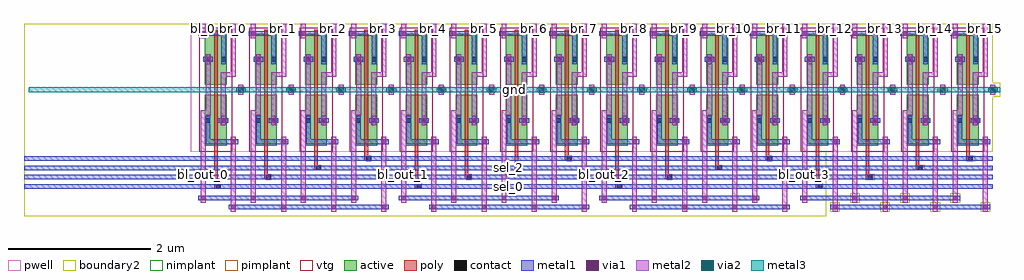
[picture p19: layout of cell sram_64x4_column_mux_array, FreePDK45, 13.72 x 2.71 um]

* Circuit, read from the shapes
.subckt sram_64x4_column_mux_array bl_0 bl_1 bl_10 bl_11 bl_12 bl_13 bl_14 bl_15 bl_2 bl_3 bl_4 bl_5 bl_6 bl_7 bl_8 bl_9 bl_out_0 bl_out_1 bl_out_2 bl_out_3 br_0 br_1 br_10 br_11 br_12 br_13 br_14 br_15 br_2 br_3 br_4 br_5 br_6 br_7 br_8 br_9 br_out_0 br_out_1 br_out_2 br_out_3 gnd sel_0 sel_1 sel_2 sel_3
M1 br_0 sel_0 br_out_0 gnd nfet w=0.72u l=0.05u
M2 bl_0 sel_0 bl_out_0 gnd nfet w=0.72u l=0.05u
M3 br_1 sel_1 br_out_0 gnd nfet w=0.72u l=0.05u
M4 bl_1 sel_1 bl_out_0 gnd nfet w=0.72u l=0.05u
M5 br_2 sel_2 br_out_0 gnd nfet w=0.72u l=0.05u
M6 bl_2 sel_2 bl_out_0 gnd nfet w=0.72u l=0.05u
M7 br_3 sel_3 br_out_0 gnd nfet w=0.72u l=0.05u
M8 bl_3 sel_3 bl_out_0 gnd nfet w=0.72u l=0.05u
M9 br_4 sel_0 br_out_1 gnd nfet w=0.72u l=0.05u
M10 bl_4 sel_0 bl_out_1 gnd nfet w=0.72u l=0.05u
M11 br_5 sel_1 br_out_1 gnd nfet w=0.72u l=0.05u
M12 bl_5 sel_1 bl_out_1 gnd nfet w=0.72u l=0.05u
M13 br_6 sel_2 br_out_1 gnd nfet w=0.72u l=0.05u
M14 bl_6 sel_2 bl_out_1 gnd nfet w=0.72u l=0.05u
M15 br_7 sel_3 br_out_1 gnd nfet w=0.72u l=0.05u
M16 bl_7 sel_3 bl_out_1 gnd nfet w=0.72u l=0.05u
M17 br_8 sel_0 br_out_2 gnd nfet w=0.72u l=0.05u
M18 bl_8 sel_0 bl_out_2 gnd nfet w=0.72u l=0.05u
M19 br_9 sel_1 br_out_2 gnd nfet w=0.72u l=0.05u
M20 bl_9 sel_1 bl_out_2 gnd nfet w=0.72u l=0.05u
M21 br_10 sel_2 br_out_2 gnd nfet w=0.72u l=0.05u
M22 bl_10 sel_2 bl_out_2 gnd nfet w=0.72u l=0.05u
M23 br_11 sel_3 br_out_2 gnd nfet w=0.72u l=0.05u
M24 bl_11 sel_3 bl_out_2 gnd nfet w=0.72u l=0.05u
M25 br_12 sel_0 br_out_3 gnd nfet w=0.72u l=0.05u
M26 bl_12 sel_0 bl_out_3 gnd nfet w=0.72u l=0.05u
M27 br_13 sel_1 br_out_3 gnd nfet w=0.72u l=0.05u
M28 bl_13 sel_1 bl_out_3 gnd nfet w=0.72u l=0.05u
M29 br_14 sel_2 br_out_3 gnd nfet w=0.72u l=0.05u
M30 bl_14 sel_2 bl_out_3 gnd nfet w=0.72u l=0.05u
M31 br_15 sel_3 br_out_3 gnd nfet w=0.72u l=0.05u
M32 bl_15 sel_3 bl_out_3 gnd nfet w=0.72u l=0.05u
.ends

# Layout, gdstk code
import gdstk
lib = gdstk.Library(unit=1e-6, precision=5e-10)
def R(c, l, rs):  # rectangles x0, y0, x1, y1
    for r in rs: c.add(gdstk.rectangle(r[:2], r[2:], *l))
def A(c, l, x, y, w, h, nx, ny, dx, dy):  # array of equal rectangles
    R(c, l, [(x+i*dx, y+j*dy, x+i*dx+w, y+j*dy+h) for i in range(nx) for j in range(ny)])
active = (1, 0)
pwell = (2, 0)
nimplant = (4, 0)
pimplant = (5, 0)
vtg = (6, 0)
poly = (9, 0)
contact = (10, 0)
metal1 = (11, 0)
via1 = (12, 0)
metal2 = (13, 0)
via2 = (14, 0)
metal3 = (15, 0)
boundary2 = (239, 0)

sram_64x4_contact_10 = lib.new_cell('sram_64x4_contact_10')
R(sram_64x4_contact_10, active, [(0,0.0225,0.09,0.1125)])
R(sram_64x4_contact_10, pwell, [(-0.055,-0.0325,0.145,0.1675)])
R(sram_64x4_contact_10, nimplant, [(0,0.0225,0.09,0.1125)])
R(sram_64x4_contact_10, contact, [(0.0125,0.035,0.0775,0.1)])
R(sram_64x4_contact_10, metal1, [(0.0125,0,0.0775,0.135)])
R(sram_64x4_contact_10, boundary2, [(-0.055,-0.0325,0.145,0.1675)])

sram_64x4_nmos_m1_w0_720 = lib.new_cell('sram_64x4_nmos_m1_w0_720_sm1_dm1')
R(sram_64x4_nmos_m1_w0_720, active, [(0,0,0.305,0.72)])
R(sram_64x4_nmos_m1_w0_720, pwell, [(-0.08,-0.08,0.385,0.8)])
R(sram_64x4_nmos_m1_w0_720, nimplant, [(0,0,0.305,0.72)])
R(sram_64x4_nmos_m1_w0_720, vtg, [(-0.08,-0.08,0.385,0.8)])
R(sram_64x4_nmos_m1_w0_720, poly, [(0.1275,-0.055,0.1775,0.775), (0.1275,-0.055,0.1775,0.775)])
R(sram_64x4_nmos_m1_w0_720, metal1, [(0.0125,0.2925,0.0775,0.4275), (0.2275,0.2925,0.2925,0.4275)])
R(sram_64x4_nmos_m1_w0_720, boundary2, [(-0.08,-0.08,0.385,0.8)])
sram_64x4_nmos_m1_w0_720.add(gdstk.Reference(sram_64x4_contact_10, (0,0.2925)))
sram_64x4_nmos_m1_w0_720.add(gdstk.Reference(sram_64x4_contact_10, (0.215,0.2925)))
sram_64x4_nmos_m1_w0_720.add(gdstk.Label('G', (0.1525,0.36), layer=9, texttype=0))
sram_64x4_nmos_m1_w0_720.add(gdstk.Label('S', (0.045,0.36), layer=11, texttype=0))
sram_64x4_nmos_m1_w0_720.add(gdstk.Label('D', (0.26,0.36), layer=11, texttype=0))

sram_64x4_contact_17 = lib.new_cell('sram_64x4_contact_17')
R(sram_64x4_contact_17, metal1, [(0,0.035,0.135,0.1)])
R(sram_64x4_contact_17, via1, [(0.035,0.035,0.1,0.1)])
R(sram_64x4_contact_17, metal2, [(0.0325,0,0.1025,0.135)])
R(sram_64x4_contact_17, boundary2, [(0,0,0.135,0.135)])

sram_64x4_contact_24 = lib.new_cell('sram_64x4_contact_24')
R(sram_64x4_contact_24, active, [(0.0225,0,0.1125,0.09)])
R(sram_64x4_contact_24, pwell, [(-0.0325,-0.055,0.1675,0.145)])
R(sram_64x4_contact_24, pimplant, [(0.0225,0,0.1125,0.09)])
R(sram_64x4_contact_24, contact, [(0.035,0.0125,0.1,0.0775)])
R(sram_64x4_contact_24, metal1, [(0,0.0125,0.135,0.0775)])
R(sram_64x4_contact_24, boundary2, [(-0.0325,-0.055,0.1675,0.145)])

sram_64x4_column_mux = lib.new_cell('sram_64x4_column_mux')
R(sram_64x4_column_mux, pwell, [(0,0,0.705,1.8)])
R(sram_64x4_column_mux, poly, [(0.3275,0.025,0.3775,0.08), (0.3275,0.8,0.3775,0.94)])
R(sram_64x4_column_mux, metal1, [(0.2125,0.1075,0.2775,0.1725), (0.245,0.1075,0.6,0.1725), (0.2125,0.14,0.2775,0.44), (0.6725,0.8375,0.7375,0.9025), (0.4275,1.3,0.4925,1.66), (0.14,1.6275,0.46,1.6925), (0.4275,1.6275,0.4925,1.6925)])
A(sram_64x4_column_mux, metal2, 0.14, 0.515, 0.07, 0.07, 3, 1, 0.035, 0)
R(sram_64x4_column_mux, metal2, [(0.14,0,0.21,0.14), (0.565,0,0.635,0.14), (0.14,0.14,0.21,0.55), (0.425,0.44,0.495,1.085), (0.21,0.55,0.28,1.3), (0.425,1.05,0.495,1.12), (0.46,1.05,0.6,1.12), (0.565,1.05,0.635,1.12), (0.565,1.085,0.635,1.66), (0.14,1.66,0.21,1.8), (0.565,1.66,0.635,1.8)])
R(sram_64x4_column_mux, boundary2, [(0,0,0.705,1.8)])
sram_64x4_column_mux.add(gdstk.Reference(sram_64x4_nmos_m1_w0_720, (0.2,0.08)))
sram_64x4_column_mux.add(gdstk.Reference(sram_64x4_nmos_m1_w0_720, (0.2,0.94)))
sram_64x4_column_mux.add(gdstk.Reference(sram_64x4_contact_17, (0.1075,1.5925)))
sram_64x4_column_mux.add(gdstk.Reference(sram_64x4_contact_17, (0.5325,0.0725)))
sram_64x4_column_mux.add(gdstk.Reference(sram_64x4_contact_17, (0.1775,1.2325)))
sram_64x4_column_mux.add(gdstk.Reference(sram_64x4_contact_17, (0.3925,0.3725)))
sram_64x4_column_mux.add(gdstk.Reference(sram_64x4_contact_24, (0.6375,0.825)))
sram_64x4_column_mux.add(gdstk.Reference(sram_64x4_contact_17, (0.6375,0.8025)))
sram_64x4_column_mux.add(gdstk.Label('sel', (0.3525,0.0525), layer=9, texttype=0))
sram_64x4_column_mux.add(gdstk.Label('bl', (0.175,1.73), layer=13, texttype=0))
sram_64x4_column_mux.add(gdstk.Label('br', (0.6,1.73), layer=13, texttype=0))
sram_64x4_column_mux.add(gdstk.Label('bl_out', (0.175,0.07), layer=13, texttype=0))
sram_64x4_column_mux.add(gdstk.Label('br_out', (0.6,0.07), layer=13, texttype=0))
sram_64x4_column_mux.add(gdstk.Label('gnd', (0.705,0.87), layer=11, texttype=0))

sram_64x4_contact_25 = lib.new_cell('sram_64x4_contact_25')
R(sram_64x4_contact_25, poly, [(0.03,0,0.105,0.075)])
R(sram_64x4_contact_25, contact, [(0.035,0.005,0.1,0.07)])
R(sram_64x4_contact_25, metal1, [(0,0.005,0.135,0.07)])
R(sram_64x4_contact_25, boundary2, [(0,0,0.135,0.075)])

sram_64x4_contact_15 = lib.new_cell('sram_64x4_contact_15')
R(sram_64x4_contact_15, metal1, [(0,0.035,0.135,0.1)])
R(sram_64x4_contact_15, via1, [(0.035,0.035,0.1,0.1)])
R(sram_64x4_contact_15, metal2, [(0.0325,0,0.1025,0.135)])
R(sram_64x4_contact_15, boundary2, [(0,0,0.135,0.135)])

sram_64x4_contact_18 = lib.new_cell('sram_64x4_contact_18')
R(sram_64x4_contact_18, metal2, [(0.0325,0,0.1025,0.135)])
R(sram_64x4_contact_18, via2, [(0.035,0.035,0.1,0.1)])
R(sram_64x4_contact_18, metal3, [(0,0.0325,0.135,0.1025)])
R(sram_64x4_contact_18, boundary2, [(0,0,0.135,0.135)])

sram_64x4_column_mux_arr = lib.new_cell('sram_64x4_column_mux_array')
R(sram_64x4_column_mux_arr, pwell, [(2.345,0.91,13.625,2.71)])
A(sram_64x4_column_mux_arr, poly, 2.6725, 0.3975, 0.05, 0.05, 4, 1, 2.82, 0)
A(sram_64x4_column_mux_arr, poly, 2.6975, 0.3975, 0.035, 0.05, 4, 1, 2.82, 0)
A(sram_64x4_column_mux_arr, poly, 3.3775, 0.5275, 0.05, 0.05, 4, 1, 2.82, 0)
A(sram_64x4_column_mux_arr, poly, 3.4025, 0.5275, 0.035, 0.05, 4, 1, 2.82, 0)
A(sram_64x4_column_mux_arr, poly, 4.0825, 0.6575, 0.05, 0.05, 4, 1, 2.82, 0)
A(sram_64x4_column_mux_arr, poly, 4.1075, 0.6575, 0.035, 0.05, 4, 1, 2.82, 0)
A(sram_64x4_column_mux_arr, poly, 4.7875, 0.7875, 0.05, 0.05, 4, 1, 2.82, 0)
A(sram_64x4_column_mux_arr, poly, 4.8125, 0.7875, 0.035, 0.05, 4, 1, 2.82, 0)
R(sram_64x4_column_mux_arr, poly, [(2.6725,0.4225,2.7225,0.935), (2.6725,0.4225,2.7225,0.935), (5.4925,0.4225,5.5425,0.935), (5.4925,0.4225,5.5425,0.935), (8.3125,0.4225,8.3625,0.935), (8.3125,0.4225,8.3625,0.935), (11.1325,0.4225,11.1825,0.935), (11.1325,0.4225,11.1825,0.935), (3.3775,0.5525,3.4275,0.935), (3.3775,0.5525,3.4275,0.935), (6.1975,0.5525,6.2475,0.935), (6.1975,0.5525,6.2475,0.935), (9.0175,0.5525,9.0675,0.935), (9.0175,0.5525,9.0675,0.935), (11.8375,0.5525,11.8875,0.935), (11.8375,0.5525,11.8875,0.935), (4.0825,0.6825,4.1325,0.935), (4.0825,0.6825,4.1325,0.935), (6.9025,0.6825,6.9525,0.935), (6.9025,0.6825,6.9525,0.935), (9.7225,0.6825,9.7725,0.935), (9.7225,0.6825,9.7725,0.935), (12.5425,0.6825,12.5925,0.935), (12.5425,0.6825,12.5925,0.935), (4.7875,0.8125,4.8375,0.935), (4.7875,0.8125,4.8375,0.935), (7.6075,0.8125,7.6575,0.935), (7.6075,0.8125,7.6575,0.935), (10.4275,0.8125,10.4775,0.935), (10.4275,0.8125,10.4775,0.935), (13.2475,0.8125,13.2975,0.935), (13.2475,0.8125,13.2975,0.935)])
A(sram_64x4_column_mux_arr, metal1, 2.945, 0.0975, 2.115, 0.065, 4, 1, 2.82, 0)
A(sram_64x4_column_mux_arr, metal1, 2.52, 0.2275, 2.115, 0.065, 4, 1, 2.82, 0)
A(sram_64x4_column_mux_arr, metal1, 0, 0.39, 13.625, 0.065, 1, 4, 0, 0.13)
A(sram_64x4_column_mux_arr, metal2, 2.91, 0.13, 0.07, 0.78, 16, 1, 0.705, 0)
A(sram_64x4_column_mux_arr, metal2, 2.485, 0.26, 0.07, 0.65, 16, 1, 0.705, 0)
R(sram_64x4_column_mux_arr, metal2, [(2.485,2.57,2.555,2.71), (2.91,2.57,2.98,2.71), (3.19,2.57,3.26,2.71), (3.615,2.57,3.685,2.71), (3.895,2.57,3.965,2.71), (4.32,2.57,4.39,2.71), (4.6,2.57,4.67,2.71), (5.025,2.57,5.095,2.71), (5.305,2.57,5.375,2.71), (5.73,2.57,5.8,2.71), (6.01,2.57,6.08,2.71), (6.435,2.57,6.505,2.71), (6.715,2.57,6.785,2.71), (7.14,2.57,7.21,2.71), (7.42,2.57,7.49,2.71), (7.845,2.57,7.915,2.71), (8.125,2.57,8.195,2.71), (8.55,2.57,8.62,2.71), (8.83,2.57,8.9,2.71), (9.255,2.57,9.325,2.71), (9.535,2.57,9.605,2.71), (9.96,2.57,10.03,2.71), (10.24,2.57,10.31,2.71), (10.665,2.57,10.735,2.71), (10.945,2.57,11.015,2.71), (11.37,2.57,11.44,2.71), (11.65,2.57,11.72,2.71), (12.075,2.57,12.145,2.71), (12.355,2.57,12.425,2.71), (12.78,2.57,12.85,2.71), (13.06,2.57,13.13,2.71), (13.485,2.57,13.555,2.71)])
R(sram_64x4_column_mux_arr, metal3, [(0.0675,1.745,13.725,1.815)])
R(sram_64x4_column_mux_arr, boundary2, [(0,0,11.28,2.71)])
sram_64x4_column_mux_arr.add(gdstk.Reference(sram_64x4_column_mux, (2.345,0.91)))
sram_64x4_column_mux_arr.add(gdstk.Reference(sram_64x4_column_mux, (3.05,0.91)))
sram_64x4_column_mux_arr.add(gdstk.Reference(sram_64x4_column_mux, (3.755,0.91)))
sram_64x4_column_mux_arr.add(gdstk.Reference(sram_64x4_column_mux, (4.46,0.91)))
sram_64x4_column_mux_arr.add(gdstk.Reference(sram_64x4_column_mux, (5.165,0.91)))
sram_64x4_column_mux_arr.add(gdstk.Reference(sram_64x4_column_mux, (5.87,0.91)))
sram_64x4_column_mux_arr.add(gdstk.Reference(sram_64x4_column_mux, (6.575,0.91)))
sram_64x4_column_mux_arr.add(gdstk.Reference(sram_64x4_column_mux, (7.28,0.91)))
sram_64x4_column_mux_arr.add(gdstk.Reference(sram_64x4_column_mux, (7.985,0.91)))
sram_64x4_column_mux_arr.add(gdstk.Reference(sram_64x4_column_mux, (8.69,0.91)))
sram_64x4_column_mux_arr.add(gdstk.Reference(sram_64x4_column_mux, (9.395,0.91)))
sram_64x4_column_mux_arr.add(gdstk.Reference(sram_64x4_column_mux, (10.1,0.91)))
sram_64x4_column_mux_arr.add(gdstk.Reference(sram_64x4_column_mux, (10.805,0.91)))
sram_64x4_column_mux_arr.add(gdstk.Reference(sram_64x4_column_mux, (11.51,0.91)))
sram_64x4_column_mux_arr.add(gdstk.Reference(sram_64x4_column_mux, (12.215,0.91)))
sram_64x4_column_mux_arr.add(gdstk.Reference(sram_64x4_column_mux, (12.92,0.91)))
sram_64x4_column_mux_arr.add(gdstk.Reference(sram_64x4_contact_25, (2.665,0.385)))
sram_64x4_column_mux_arr.add(gdstk.Reference(sram_64x4_contact_25, (3.37,0.515)))
sram_64x4_column_mux_arr.add(gdstk.Reference(sram_64x4_contact_25, (4.075,0.645)))
sram_64x4_column_mux_arr.add(gdstk.Reference(sram_64x4_contact_25, (4.78,0.775)))
sram_64x4_column_mux_arr.add(gdstk.Reference(sram_64x4_contact_25, (5.485,0.385)))
sram_64x4_column_mux_arr.add(gdstk.Reference(sram_64x4_contact_25, (6.19,0.515)))
sram_64x4_column_mux_arr.add(gdstk.Reference(sram_64x4_contact_25, (6.895,0.645)))
sram_64x4_column_mux_arr.add(gdstk.Reference(sram_64x4_contact_25, (7.6,0.775)))
sram_64x4_column_mux_arr.add(gdstk.Reference(sram_64x4_contact_25, (8.305,0.385)))
sram_64x4_column_mux_arr.add(gdstk.Reference(sram_64x4_contact_25, (9.01,0.515)))
sram_64x4_column_mux_arr.add(gdstk.Reference(sram_64x4_contact_25, (9.715,0.645)))
sram_64x4_column_mux_arr.add(gdstk.Reference(sram_64x4_contact_25, (10.42,0.775)))
sram_64x4_column_mux_arr.add(gdstk.Reference(sram_64x4_contact_25, (11.125,0.385)))
sram_64x4_column_mux_arr.add(gdstk.Reference(sram_64x4_contact_25, (11.83,0.515)))
sram_64x4_column_mux_arr.add(gdstk.Reference(sram_64x4_contact_25, (12.535,0.645)))
sram_64x4_column_mux_arr.add(gdstk.Reference(sram_64x4_contact_25, (13.24,0.775)))
sram_64x4_column_mux_arr.add(gdstk.Reference(sram_64x4_contact_15, (2.4525,0.1925)))
sram_64x4_column_mux_arr.add(gdstk.Reference(sram_64x4_contact_15, (2.8775,0.0625)))
sram_64x4_column_mux_arr.add(gdstk.Reference(sram_64x4_contact_15, (3.1575,0.1925)))
sram_64x4_column_mux_arr.add(gdstk.Reference(sram_64x4_contact_15, (3.5825,0.0625)))
sram_64x4_column_mux_arr.add(gdstk.Reference(sram_64x4_contact_15, (3.8625,0.1925)))
sram_64x4_column_mux_arr.add(gdstk.Reference(sram_64x4_contact_15, (4.2875,0.0625)))
sram_64x4_column_mux_arr.add(gdstk.Reference(sram_64x4_contact_15, (4.5675,0.1925)))
sram_64x4_column_mux_arr.add(gdstk.Reference(sram_64x4_contact_15, (4.9925,0.0625)))
sram_64x4_column_mux_arr.add(gdstk.Reference(sram_64x4_contact_15, (5.2725,0.1925)))
sram_64x4_column_mux_arr.add(gdstk.Reference(sram_64x4_contact_15, (5.6975,0.0625)))
sram_64x4_column_mux_arr.add(gdstk.Reference(sram_64x4_contact_15, (5.9775,0.1925)))
sram_64x4_column_mux_arr.add(gdstk.Reference(sram_64x4_contact_15, (6.4025,0.0625)))
sram_64x4_column_mux_arr.add(gdstk.Reference(sram_64x4_contact_15, (6.6825,0.1925)))
sram_64x4_column_mux_arr.add(gdstk.Reference(sram_64x4_contact_15, (7.1075,0.0625)))
sram_64x4_column_mux_arr.add(gdstk.Reference(sram_64x4_contact_15, (7.3875,0.1925)))
sram_64x4_column_mux_arr.add(gdstk.Reference(sram_64x4_contact_15, (7.8125,0.0625)))
sram_64x4_column_mux_arr.add(gdstk.Reference(sram_64x4_contact_15, (8.0925,0.1925)))
sram_64x4_column_mux_arr.add(gdstk.Reference(sram_64x4_contact_15, (8.5175,0.0625)))
sram_64x4_column_mux_arr.add(gdstk.Reference(sram_64x4_contact_15, (8.7975,0.1925)))
sram_64x4_column_mux_arr.add(gdstk.Reference(sram_64x4_contact_15, (9.2225,0.0625)))
sram_64x4_column_mux_arr.add(gdstk.Reference(sram_64x4_contact_15, (9.5025,0.1925)))
sram_64x4_column_mux_arr.add(gdstk.Reference(sram_64x4_contact_15, (9.9275,0.0625)))
sram_64x4_column_mux_arr.add(gdstk.Reference(sram_64x4_contact_15, (10.2075,0.1925)))
sram_64x4_column_mux_arr.add(gdstk.Reference(sram_64x4_contact_15, (10.6325,0.0625)))
sram_64x4_column_mux_arr.add(gdstk.Reference(sram_64x4_contact_15, (10.9125,0.1925)))
sram_64x4_column_mux_arr.add(gdstk.Reference(sram_64x4_contact_15, (11.3375,0.0625)))
sram_64x4_column_mux_arr.add(gdstk.Reference(sram_64x4_contact_15, (11.6175,0.1925)))
sram_64x4_column_mux_arr.add(gdstk.Reference(sram_64x4_contact_15, (12.0425,0.0625)))
sram_64x4_column_mux_arr.add(gdstk.Reference(sram_64x4_contact_15, (12.3225,0.1925)))
sram_64x4_column_mux_arr.add(gdstk.Reference(sram_64x4_contact_15, (12.7475,0.0625)))
sram_64x4_column_mux_arr.add(gdstk.Reference(sram_64x4_contact_15, (13.0275,0.1925)))
sram_64x4_column_mux_arr.add(gdstk.Reference(sram_64x4_contact_15, (13.4525,0.0625)))
sram_64x4_column_mux_arr.add(gdstk.Reference(sram_64x4_contact_17, (2.9825,1.7125)))
sram_64x4_column_mux_arr.add(gdstk.Reference(sram_64x4_contact_18, (2.9825,1.7125)))
sram_64x4_column_mux_arr.add(gdstk.Reference(sram_64x4_contact_17, (3.6875,1.7125)))
sram_64x4_column_mux_arr.add(gdstk.Reference(sram_64x4_contact_18, (3.6875,1.7125)))
sram_64x4_column_mux_arr.add(gdstk.Reference(sram_64x4_contact_17, (4.3925,1.7125)))
sram_64x4_column_mux_arr.add(gdstk.Reference(sram_64x4_contact_18, (4.3925,1.7125)))
sram_64x4_column_mux_arr.add(gdstk.Reference(sram_64x4_contact_17, (5.0975,1.7125)))
sram_64x4_column_mux_arr.add(gdstk.Reference(sram_64x4_contact_18, (5.0975,1.7125)))
sram_64x4_column_mux_arr.add(gdstk.Reference(sram_64x4_contact_17, (5.8025,1.7125)))
sram_64x4_column_mux_arr.add(gdstk.Reference(sram_64x4_contact_18, (5.8025,1.7125)))
sram_64x4_column_mux_arr.add(gdstk.Reference(sram_64x4_contact_17, (6.5075,1.7125)))
sram_64x4_column_mux_arr.add(gdstk.Reference(sram_64x4_contact_18, (6.5075,1.7125)))
sram_64x4_column_mux_arr.add(gdstk.Reference(sram_64x4_contact_17, (7.2125,1.7125)))
sram_64x4_column_mux_arr.add(gdstk.Reference(sram_64x4_contact_18, (7.2125,1.7125)))
sram_64x4_column_mux_arr.add(gdstk.Reference(sram_64x4_contact_17, (7.9175,1.7125)))
sram_64x4_column_mux_arr.add(gdstk.Reference(sram_64x4_contact_18, (7.9175,1.7125)))
sram_64x4_column_mux_arr.add(gdstk.Reference(sram_64x4_contact_17, (8.6225,1.7125)))
sram_64x4_column_mux_arr.add(gdstk.Reference(sram_64x4_contact_18, (8.6225,1.7125)))
sram_64x4_column_mux_arr.add(gdstk.Reference(sram_64x4_contact_17, (9.3275,1.7125)))
sram_64x4_column_mux_arr.add(gdstk.Reference(sram_64x4_contact_18, (9.3275,1.7125)))
sram_64x4_column_mux_arr.add(gdstk.Reference(sram_64x4_contact_17, (10.0325,1.7125)))
sram_64x4_column_mux_arr.add(gdstk.Reference(sram_64x4_contact_18, (10.0325,1.7125)))
sram_64x4_column_mux_arr.add(gdstk.Reference(sram_64x4_contact_17, (10.7375,1.7125)))
sram_64x4_column_mux_arr.add(gdstk.Reference(sram_64x4_contact_18, (10.7375,1.7125)))
sram_64x4_column_mux_arr.add(gdstk.Reference(sram_64x4_contact_17, (11.4425,1.7125)))
sram_64x4_column_mux_arr.add(gdstk.Reference(sram_64x4_contact_18, (11.4425,1.7125)))
sram_64x4_column_mux_arr.add(gdstk.Reference(sram_64x4_contact_17, (12.1475,1.7125)))
sram_64x4_column_mux_arr.add(gdstk.Reference(sram_64x4_contact_18, (12.1475,1.7125)))
sram_64x4_column_mux_arr.add(gdstk.Reference(sram_64x4_contact_17, (12.8525,1.7125)))
sram_64x4_column_mux_arr.add(gdstk.Reference(sram_64x4_contact_18, (12.8525,1.7125)))
sram_64x4_column_mux_arr.add(gdstk.Reference(sram_64x4_contact_17, (13.5575,1.7125)))
sram_64x4_column_mux_arr.add(gdstk.Reference(sram_64x4_contact_18, (13.5575,1.7125)))
sram_64x4_column_mux_arr.add(gdstk.Label('sel_0', (6.8125,0.4225), layer=11, texttype=0))
sram_64x4_column_mux_arr.add(gdstk.Label('sel_1', (6.8125,0.5525), layer=11, texttype=0))
sram_64x4_column_mux_arr.add(gdstk.Label('sel_2', (6.8125,0.6825), layer=11, texttype=0))
sram_64x4_column_mux_arr.add(gdstk.Label('sel_3', (6.8125,0.8125), layer=11, texttype=0))
sram_64x4_column_mux_arr.add(gdstk.Label('bl_out_0', (2.52,0.585), layer=13, texttype=0))
sram_64x4_column_mux_arr.add(gdstk.Label('br_out_0', (2.945,0.52), layer=13, texttype=0))
sram_64x4_column_mux_arr.add(gdstk.Label('bl_out_1', (5.34,0.585), layer=13, texttype=0))
sram_64x4_column_mux_arr.add(gdstk.Label('br_out_1', (5.765,0.52), layer=13, texttype=0))
sram_64x4_column_mux_arr.add(gdstk.Label('bl_out_2', (8.16,0.585), layer=13, texttype=0))
sram_64x4_column_mux_arr.add(gdstk.Label('br_out_2', (8.585,0.52), layer=13, texttype=0))
sram_64x4_column_mux_arr.add(gdstk.Label('bl_out_3', (10.98,0.585), layer=13, texttype=0))
sram_64x4_column_mux_arr.add(gdstk.Label('br_out_3', (11.405,0.52), layer=13, texttype=0))
sram_64x4_column_mux_arr.add(gdstk.Label('gnd', (6.896,1.78), layer=15, texttype=0))
sram_64x4_column_mux_arr.add(gdstk.Label('bl_0', (2.52,2.64), layer=13, texttype=0))
sram_64x4_column_mux_arr.add(gdstk.Label('br_0', (2.945,2.64), layer=13, texttype=0))
sram_64x4_column_mux_arr.add(gdstk.Label('bl_1', (3.225,2.64), layer=13, texttype=0))
sram_64x4_column_mux_arr.add(gdstk.Label('br_1', (3.65,2.64), layer=13, texttype=0))
sram_64x4_column_mux_arr.add(gdstk.Label('bl_2', (3.93,2.64), layer=13, texttype=0))
sram_64x4_column_mux_arr.add(gdstk.Label('br_2', (4.355,2.64), layer=13, texttype=0))
sram_64x4_column_mux_arr.add(gdstk.Label('bl_3', (4.635,2.64), layer=13, texttype=0))
sram_64x4_column_mux_arr.add(gdstk.Label('br_3', (5.06,2.64), layer=13, texttype=0))
sram_64x4_column_mux_arr.add(gdstk.Label('bl_4', (5.34,2.64), layer=13, texttype=0))
sram_64x4_column_mux_arr.add(gdstk.Label('br_4', (5.765,2.64), layer=13, texttype=0))
sram_64x4_column_mux_arr.add(gdstk.Label('bl_5', (6.045,2.64), layer=13, texttype=0))
sram_64x4_column_mux_arr.add(gdstk.Label('br_5', (6.47,2.64), layer=13, texttype=0))
sram_64x4_column_mux_arr.add(gdstk.Label('bl_6', (6.75,2.64), layer=13, texttype=0))
sram_64x4_column_mux_arr.add(gdstk.Label('br_6', (7.175,2.64), layer=13, texttype=0))
sram_64x4_column_mux_arr.add(gdstk.Label('bl_7', (7.455,2.64), layer=13, texttype=0))
sram_64x4_column_mux_arr.add(gdstk.Label('br_7', (7.88,2.64), layer=13, texttype=0))
sram_64x4_column_mux_arr.add(gdstk.Label('bl_8', (8.16,2.64), layer=13, texttype=0))
sram_64x4_column_mux_arr.add(gdstk.Label('br_8', (8.585,2.64), layer=13, texttype=0))
sram_64x4_column_mux_arr.add(gdstk.Label('bl_9', (8.865,2.64), layer=13, texttype=0))
sram_64x4_column_mux_arr.add(gdstk.Label('br_9', (9.29,2.64), layer=13, texttype=0))
sram_64x4_column_mux_arr.add(gdstk.Label('bl_10', (9.57,2.64), layer=13, texttype=0))
sram_64x4_column_mux_arr.add(gdstk.Label('br_10', (9.995,2.64), layer=13, texttype=0))
sram_64x4_column_mux_arr.add(gdstk.Label('bl_11', (10.275,2.64), layer=13, texttype=0))
sram_64x4_column_mux_arr.add(gdstk.Label('br_11', (10.7,2.64), layer=13, texttype=0))
sram_64x4_column_mux_arr.add(gdstk.Label('bl_12', (10.98,2.64), layer=13, texttype=0))
sram_64x4_column_mux_arr.add(gdstk.Label('br_12', (11.405,2.64), layer=13, texttype=0))
sram_64x4_column_mux_arr.add(gdstk.Label('bl_13', (11.685,2.64), layer=13, texttype=0))
sram_64x4_column_mux_arr.add(gdstk.Label('br_13', (12.11,2.64), layer=13, texttype=0))
sram_64x4_column_mux_arr.add(gdstk.Label('bl_14', (12.39,2.64), layer=13, texttype=0))
sram_64x4_column_mux_arr.add(gdstk.Label('br_14', (12.815,2.64), layer=13, texttype=0))
sram_64x4_column_mux_arr.add(gdstk.Label('bl_15', (13.095,2.64), layer=13, texttype=0))
sram_64x4_column_mux_arr.add(gdstk.Label('br_15', (13.52,2.64), layer=13, texttype=0))

lib.write_gds('sram_64x4_column_mux_array.gds')
